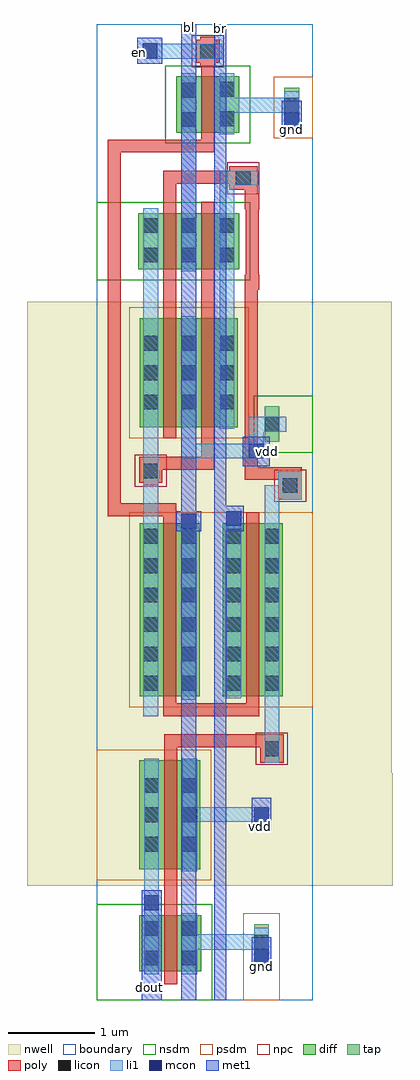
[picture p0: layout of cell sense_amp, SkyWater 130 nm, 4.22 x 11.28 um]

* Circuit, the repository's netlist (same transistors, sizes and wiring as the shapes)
*********************** "sense_amp" ******************************

.SUBCKT sense_amp bl br dout en vdd gnd
M1000 gnd en a_56_432# gnd nshort W=0.65 L=0.15
M1001 a_56_432# dint_bar dint gnd nshort W=0.65 L=0.15
M1002 dint_bar dint a_56_432# gnd nshort W=0.65 L=0.15

M1003 vdd dint_bar dint vdd pshort W=1.26 L=0.15
M1004 dint_bar dint vdd vdd pshort W=1.26 L=0.15

M1005 bl en dint vdd pshort W=2 L=0.15
M1006 dint_bar en br vdd pshort W=2 L=0.15

M1007 vdd dint_bar dout vdd pshort W=1.26 L=0.15
M1008 dout dint_bar gnd gnd nshort W=0.65 L=0.15

.ENDS sense_amp

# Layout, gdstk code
import gdstk
lib = gdstk.Library(unit=1e-6, precision=1e-09)
def R(c, l, rs):  # rectangles x0, y0, x1, y1
    for r in rs: c.add(gdstk.rectangle(r[:2], r[2:], *l))
def A(c, l, x, y, w, h, nx, ny, dx, dy):  # array of equal rectangles
    R(c, l, [(x+i*dx, y+j*dy, x+i*dx+w, y+j*dy+h) for i in range(nx) for j in range(ny)])
nwell = (64, 20)
diff = (65, 20)
tap = (65, 44)
poly = (66, 20)
licon = (66, 44)
li1 = (67, 20)
mcon = (67, 44)
met1 = (68, 20)
nsdm = (93, 44)
psdm = (94, 20)
npc = (95, 20)
boundary = (235, 4)

sense_amp = lib.new_cell('sense_amp')
R(sense_amp, nwell, [(-0.8,1.32,3.42,2.62), (-0.8,2.62,3.41,8.07)])
R(sense_amp, diff, [(0.49,0.33,1.21,0.98), (0.49,1.51,1.2,2.77), (0.5,3.51,1.19,5.51), (1.46,3.51,2.15,5.51), (0.5,6.62,1.63,7.88), (0.48,8.445,1.65,9.095), (0.92,10.025,1.65,10.675)])
R(sense_amp, tap, [(1.82,0.415,1.99,0.875), (1.94,6.45,2.11,6.86), (2.17,10.085,2.34,10.545)])
R(sense_amp, poly, [(0.78,0.18,0.93,2.92), (1.89,2.74,2.16,2.92), (0.78,2.92,2.16,3.07), (0.77,3.28,1.88,3.43), (0.77,3.43,0.92,5.59), (1.73,3.43,1.88,5.64), (0.13,5.59,0.92,5.74), (0.13,5.74,0.28,9.795), (2.15,5.78,2.37,5.79), (2.1,5.79,2.37,6.01), (0.54,5.95,0.71,5.98), (0.49,5.98,0.76,6.13), (1.71,6.01,2.37,6.16), (0.49,6.13,1.36,6.28), (1.71,6.16,1.86,8.21), (1.21,6.28,1.36,9.225), (0.77,6.49,0.92,9.435), (1.71,8.21,1.88,8.38), (1.725,8.38,1.875,9.14), (1.71,9.14,1.88,9.31), (1.71,9.31,1.86,9.365), (1.53,9.365,1.86,9.435), (0.77,9.435,1.86,9.585), (1.53,9.585,1.86,9.635), (0.13,9.795,1.36,9.945), (1.21,9.945,1.36,10.8), (1.2,10.8,1.37,10.83), (1.15,10.83,1.42,11.1), (1.2,11.1,1.37,11.13)])
A(sense_amp, licon, 0.55, 1.715, 0.17, 0.17, 1, 3, 0, 0.34)
A(sense_amp, licon, 0.99, 1.715, 0.17, 0.17, 1, 3, 0, 0.34)
A(sense_amp, licon, 0.54, 3.575, 0.17, 0.17, 1, 6, 0, 0.34)
A(sense_amp, licon, 0.98, 3.575, 0.17, 0.17, 1, 6, 0, 0.34)
A(sense_amp, licon, 1.5, 3.575, 0.17, 0.17, 1, 6, 0, 0.34)
A(sense_amp, licon, 1.94, 3.575, 0.17, 0.17, 1, 6, 0, 0.34)
A(sense_amp, licon, 0.54, 6.825, 0.17, 0.17, 3, 3, 0.44, 0.34)
A(sense_amp, licon, 0.54, 8.525, 0.17, 0.17, 3, 2, 0.44, 0.34)
R(sense_amp, licon, [(0.55,0.4,0.72,0.57), (0.99,0.4,1.16,0.57), (1.82,0.585,1.99,0.755), (0.55,0.74,0.72,0.91), (0.99,0.74,1.16,0.91), (1.94,2.82,2.11,2.99), (2.15,5.86,2.32,6.03), (0.54,6.03,0.71,6.2), (1.94,6.57,2.11,6.74), (1.61,9.415,1.78,9.585), (0.98,10.09,1.15,10.26), (1.42,10.1,1.59,10.27), (2.17,10.255,2.34,10.425), (0.98,10.43,1.15,10.6), (1.42,10.44,1.59,10.61), (1.2,10.88,1.37,11.05)])
R(sense_amp, li1, [(0.55,0.3,0.72,2.79), (0.98,0.3,1.16,0.58), (1.82,0.415,1.99,0.58), (0.98,0.58,1.99,0.76), (0.98,0.76,1.16,1), (1.82,0.76,1.99,0.835), (0.99,1.49,1.16,2.06), (0.99,2.06,1.99,2.23), (0.99,2.23,1.16,2.79), (1.94,2.74,2.11,5.78), (0.54,3.28,0.71,9.15), (0.98,3.47,1.15,5.62), (1.5,3.49,1.67,5.65), (1.94,5.78,2.37,5.95), (2.1,5.95,2.37,6.11), (0.98,6.26,1.93,6.43), (0.98,6.43,1.15,7.9), (1.76,6.43,1.93,6.57), (1.76,6.57,2.19,6.74), (1.42,6.6,1.59,9.415), (0.98,8.425,1.15,10.71), (1.42,9.415,1.87,9.585), (1.42,10.005,1.59,10.255), (2.17,10.085,2.34,10.255), (1.42,10.255,2.34,10.425), (1.42,10.425,1.59,10.71), (2.17,10.425,2.34,10.505), (0.53,10.88,1.45,11.05), (0.53,11.05,0.7,11.06)])
R(sense_amp, mcon, [(1.82,0.415,1.99,0.585), (0.55,1.04,0.72,1.21), (1.82,2.06,1.99,2.23), (0.98,5.45,1.15,5.62), (1.5,5.48,1.67,5.65), (1.76,6.26,1.93,6.43), (2.17,10.085,2.34,10.255), (0.53,10.885,0.7,11.055)])
R(sense_amp, met1, [(0.52,0,0.75,1.27), (0.98,0,1.15,5.42), (1.36,0,1.5,5.42), (1.79,0.355,2.02,0.725), (1.79,1.96,2.02,2.34), (0.92,5.42,1.21,5.65), (1.36,5.42,1.7,5.71), (0.98,5.65,1.15,11.28), (1.36,5.71,1.5,11.28), (1.69,6.17,2,6.51), (2.14,10.025,2.37,10.395), (0.47,10.82,0.76,11.12)])
R(sense_amp, nsdm, [(0,0,1.335,1.105), (1.815,6.325,2.5,6.985), (0,8.32,1.775,9.22), (0.795,9.9,1.775,10.8)])
R(sense_amp, psdm, [(1.695,0,2.115,1), (0,1.385,1.325,2.895), (0.375,3.385,2.5,5.635), (0.375,6.495,1.755,8.005), (2.045,9.96,2.5,10.67)])
R(sense_amp, npc, [(1.84,2.72,2.21,3.09), (2.05,5.76,2.42,6.13), (0.44,5.93,0.81,6.3), (1.51,9.315,1.88,9.685), (1.1,10.78,1.47,11.15)])
R(sense_amp, boundary, [(0,0,2.5,11.28)])
sense_amp.add(gdstk.Label('vdd', (1.97,6.34), layer=68, texttype=16))
sense_amp.add(gdstk.Label('gnd', (2.25,10.055), layer=68, texttype=16))
sense_amp.add(gdstk.Label('bl', (1.07,11.24), layer=68, texttype=16))
sense_amp.add(gdstk.Label('br', (1.43,11.23), layer=68, texttype=16))
sense_amp.add(gdstk.Label('dout', (0.615,0.14), layer=68, texttype=16))
sense_amp.add(gdstk.Label('gnd', (1.9,0.385), layer=68, texttype=16))
sense_amp.add(gdstk.Label('vdd', (1.89,2), layer=68, texttype=16))
sense_amp.add(gdstk.Label('en', (0.5,10.95), layer=68, texttype=16))

lib.write_gds('sense_amp.gds')
